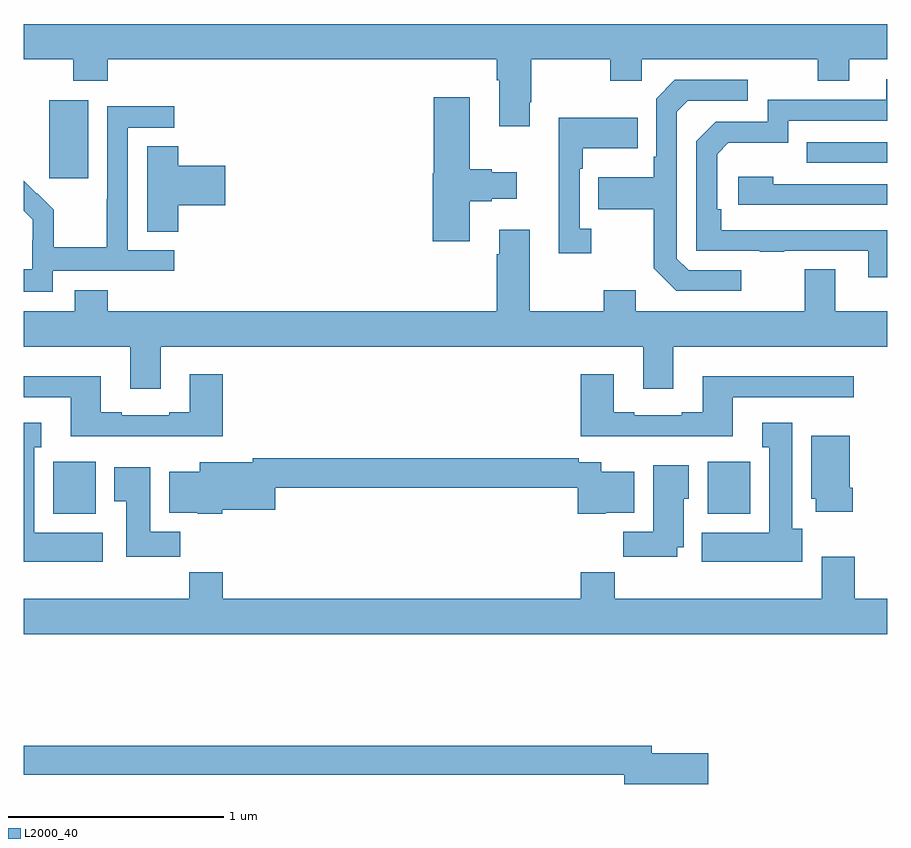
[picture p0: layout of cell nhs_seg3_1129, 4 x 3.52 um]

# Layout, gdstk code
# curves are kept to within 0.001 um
import gdstk
lib = gdstk.Library(unit=1e-6, precision=1e-09)
def R(c, l, rs):  # rectangles x0, y0, x1, y1
    for r in rs: c.add(gdstk.rectangle(r[:2], r[2:], *l))
def P(c, l, *ps):  # polygons
    for p in ps: c.add(gdstk.Polygon(p, *l))
L2000_40 = (2000, 40)

nhs_seg3_1129 = lib.new_cell('nhs_seg3_1129')
R(nhs_seg3_1129, L2000_40, [(169.136,724.118,169.333,724.36), (172.169,724.118,172.366,724.36), (169.118,725.673,169.297,726.034), (172.627,725.745,173,725.841)])
P(nhs_seg3_1129, L2000_40, [(171.343,726.025),(171.351,726.025),(171.351,726.224),(171.718,726.224),(171.718,726.125),(171.864,726.125),(171.864,726.224),(172.678,726.224),(172.678,726.125),(172.825,726.125),(172.825,726.224),(173,726.224),(173,726.388),(169,726.388),(169,726.224),(169.228,726.224),(169.228,726.125),(169.388,726.125),(169.388,726.224),(171.191,726.224),(171.191,726.128),(171.203,726.128),(171.203,725.913),(171.343,725.913)],
  [(173,725.432),(172.232,725.433),(172.232,725.53),(172.212,725.53),(172.212,725.784),(172.265,725.837),(172.542,725.837),(172.542,725.94),(173,725.94),(173,726.132),(172.997,726.132),(172.997,726.036),(172.446,726.036),(172.446,725.934),(172.206,725.934),(172.116,725.844),(172.116,725.337),(172.411,725.337),(172.411,725.332),(172.523,725.332),(172.523,725.337),(172.913,725.337),(172.913,725.214),(173,725.214)],
  [(172.324,725.247),(172.08,725.247),(172.026,725.301),(172.026,725.982),(172.077,726.033),(172.354,726.033),(172.354,726.129),(172.017,726.129),(171.93,726.042),(171.93,725.773),(171.918,725.773),(171.918,725.677),(171.661,725.677),(171.661,725.53),(171.918,725.53),(171.918,725.257),(172.023,725.151),(172.324,725.151)],
  [(171.067,725.567),(171.167,725.567),(171.167,725.579),(171.283,725.579),(171.283,725.701),(171.167,725.701),(171.167,725.714),(171.067,725.714),(171.067,726.049),(170.9,726.049),(170.9,725.697),(170.894,725.697),(170.894,725.382),(171.067,725.382)],
  [(169.134,725.244),(169.696,725.244),(169.696,725.34),(169.482,725.34),(169.482,725.907),(169.696,725.907),(169.696,726.006),(169.386,726.006),(169.386,725.576),(169.384,725.576),(169.384,725.353),(169.139,725.353),(169.139,725.527),(169.062,725.604),(169.059,725.601),(169,725.661),(169,725.522),(169.04,725.482),(169.04,725.385),(169.038,725.385),(169.038,725.251),(169,725.251),(169,725.147),(169.134,725.147)],
  [(171.628,725.438),(171.576,725.438),(171.576,725.717),(171.589,725.717),(171.589,725.813),(171.845,725.813),(171.845,725.953),(171.479,725.953),(171.479,725.325),(171.628,725.325)],
  [(169.715,725.549),(169.933,725.549),(169.933,725.732),(169.715,725.732),(169.715,725.822),(169.571,725.822),(169.571,725.425),(169.715,725.425)],
  [(173,725.646),(172.472,725.646),(172.472,725.68),(172.311,725.68),(172.311,725.55),(173,725.55)],
  [(169.633,724.892),(171.869,724.892),(171.869,724.698),(172.009,724.698),(172.009,724.892),(173,724.892),(173,725.056),(172.759,725.056),(172.759,725.251),(172.619,725.251),(172.619,725.056),(171.835,725.056),(171.835,725.155),(171.688,725.155),(171.688,725.056),(171.343,725.056),(171.343,725.434),(171.203,725.434),(171.203,725.321),(171.191,725.321),(171.191,725.056),(169.388,725.056),(169.388,725.155),(169.235,725.155),(169.235,725.056),(169,725.056),(169,724.892),(169.493,724.892),(169.493,724.698),(169.633,724.698)],
  [(169.922,724.765),(169.769,724.765),(169.769,724.588),(169.673,724.588),(169.673,724.575),(169.453,724.575),(169.453,724.588),(169.357,724.588),(169.357,724.756),(169,724.756),(169,724.659),(169.217,724.659),(169.217,724.478),(169.922,724.478)],
  [(172.285,724.659),(172.846,724.659),(172.846,724.756),(172.145,724.756),(172.145,724.588),(172.049,724.588),(172.049,724.575),(171.829,724.575),(171.829,724.588),(171.733,724.588),(171.733,724.765),(171.581,724.765),(171.581,724.478),(172.285,724.478)],
  [(169.366,724.03),(169.048,724.03),(169.048,724.427),(169.081,724.427),(169.081,724.54),(169,724.54),(169,723.896),(169.366,723.896)],
  [(172.606,724.05),(172.561,724.05),(172.561,724.54),(172.421,724.54),(172.421,724.427),(172.454,724.427),(172.454,724.03),(172.142,724.03),(172.142,723.896),(172.606,723.896)],
  [(172.841,724.24),(172.828,724.24),(172.828,724.48),(172.649,724.48),(172.649,724.188),(172.67,724.188),(172.67,724.128),(172.841,724.128)],
  [(169.92,724.136),(170.164,724.136),(170.164,724.24),(171.567,724.24),(171.567,724.118),(171.696,724.118),(171.696,724.124),(171.829,724.124),(171.829,724.312),(171.675,724.312),(171.675,724.356),(171.572,724.356),(171.572,724.376),(170.06,724.376),(170.06,724.357),(169.814,724.357),(169.814,724.312),(169.673,724.312),(169.673,724.124),(169.806,724.124),(169.806,724.118),(169.92,724.118)],
  [(172.027,723.962),(172.057,723.962),(172.057,724.188),(172.081,724.188),(172.081,724.342),(171.917,724.342),(171.917,724.036),(171.778,724.036),(171.778,723.918),(172.027,723.918)],
  [(169.724,724.036),(169.585,724.036),(169.585,724.333),(169.418,724.333),(169.418,724.177),(169.475,724.177),(169.475,723.918),(169.724,723.918)],
  [(173,723.724),(172.85,723.724),(172.85,723.919),(172.697,723.919),(172.697,723.724),(171.737,723.724),(171.737,723.848),(171.581,723.848),(171.581,723.724),(169.922,723.724),(169.922,723.848),(169.765,723.848),(169.765,723.724),(169,723.724),(169,723.56),(173,723.56)],
  [(172.171,723.008),(171.91,723.008),(171.91,723.044),(169,723.044),(169,722.908),(171.782,722.908),(171.782,722.866),(172.171,722.866)])

lib.write_gds('nhs_seg3_1129.gds')
